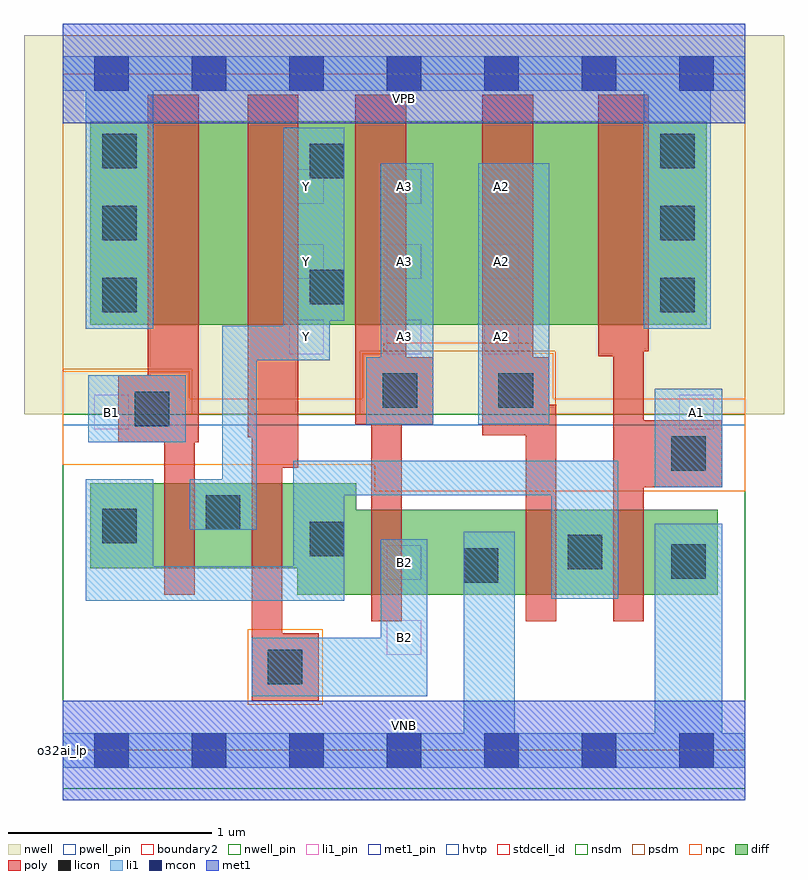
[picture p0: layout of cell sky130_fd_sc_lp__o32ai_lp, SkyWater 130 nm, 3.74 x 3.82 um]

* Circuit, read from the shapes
.subckt sky130_fd_sc_lp__o32ai_lp A1 A2 A3 B1 B2 VGND VNB VPB VPWR Y
XM1 Y B1 n1 VNB sky130_fd_pr__nfet_01v8 w=0.42 l=0.15
XM2 n1 B2 Y VNB sky130_fd_pr__nfet_01v8 w=0.42 l=0.15
XM3 VGND A3 n1 VNB sky130_fd_pr__nfet_01v8 w=0.42 l=0.15
XM4 n1 A2 VGND VNB sky130_fd_pr__nfet_01v8 w=0.42 l=0.15
XM5 VGND A1 n1 VNB sky130_fd_pr__nfet_01v8 w=0.42 l=0.15
XM6 n2 B1 VPWR VPB sky130_fd_pr__pfet_01v8_hvt w=1 l=0.25
XM7 Y B2 n2 VPB sky130_fd_pr__pfet_01v8_hvt w=1 l=0.25
XM8 n3 A3 Y VPB sky130_fd_pr__pfet_01v8_hvt w=1 l=0.25
XM9 n4 A2 n3 VPB sky130_fd_pr__pfet_01v8_hvt w=1 l=0.25
XM10 VPWR A1 n4 VPB sky130_fd_pr__pfet_01v8_hvt w=1 l=0.25
.ends

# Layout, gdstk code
import gdstk
lib = gdstk.Library(unit=1e-6, precision=1e-09)
def R(c, l, rs):  # rectangles x0, y0, x1, y1
    for r in rs: c.add(gdstk.rectangle(r[:2], r[2:], *l))
def A(c, l, x, y, w, h, nx, ny, dx, dy):  # array of equal rectangles
    R(c, l, [(x+i*dx, y+j*dy, x+i*dx+w, y+j*dy+h) for i in range(nx) for j in range(ny)])
def P(c, l, *ps):  # polygons
    for p in ps: c.add(gdstk.Polygon(p, *l))
nwell_pin = (64, 16)
nwell = (64, 20)
diff = (65, 20)
poly = (66, 20)
licon = (66, 44)
li1_pin = (67, 16)
li1 = (67, 20)
mcon = (67, 44)
met1_pin = (68, 16)
met1 = (68, 20)
hvtp = (78, 44)
stdcell_id = (81, 4)
nsdm = (93, 44)
psdm = (94, 20)
npc = (95, 20)
pwell_pin = (122, 16)
boundary2 = (236, 0)

sky130_fd_sc_lp__o32ai_l = lib.new_cell('sky130_fd_sc_lp__o32ai_lp')
R(sky130_fd_sc_lp__o32ai_l, nwell_pin, [(0,3.085,3.36,3.33)])
R(sky130_fd_sc_lp__o32ai_l, nwell, [(-0.19,1.655,3.55,3.52)])
R(sky130_fd_sc_lp__o32ai_l, diff, [(0.135,2.095,3.17,3.095)])
P(sky130_fd_sc_lp__o32ai_l, diff, [(3.225,1.185),(1.445,1.185),(1.445,1.315),(0.135,1.315),(0.135,0.895),(1.155,0.895),(1.155,0.765),(3.225,0.765)])
P(sky130_fd_sc_lp__o32ai_l, poly, [(0.67,3.225),(0.42,3.225),(0.42,1.845),(0.275,1.845),(0.275,1.515),(0.5,1.515),(0.5,0.765),(0.65,0.765),(0.65,1.515),(0.67,1.515)],
  [(1.26,0.575),(1.08,0.575),(1.08,1.39),(1.16,1.39),(1.16,3.225),(0.91,3.225),(0.91,1.54),(0.93,1.54),(0.93,0.245),(1.26,0.245)],
  [(1.825,1.935),(1.69,1.935),(1.69,3.225),(1.44,3.225),(1.44,1.605),(1.52,1.605),(1.52,0.635),(1.67,0.635),(1.67,1.605),(1.825,1.605)],
  [(2.43,1.7),(2.395,1.7),(2.395,1.935),(2.315,1.935),(2.315,3.225),(2.065,3.225),(2.065,1.55),(2.28,1.55),(2.28,0.635),(2.43,0.635)],
  [(3.245,1.625),(2.86,1.625),(2.86,1.965),(2.885,1.965),(2.885,3.225),(2.635,3.225),(2.635,1.94),(2.71,1.94),(2.71,0.635),(2.86,0.635),(2.86,1.295),(3.245,1.295)])
A(sky130_fd_sc_lp__o32ai_l, licon, 0.195, 2.155, 0.17, 0.17, 1, 3, 0, 0.355)
A(sky130_fd_sc_lp__o32ai_l, licon, 2.94, 2.155, 0.17, 0.17, 1, 3, 0, 0.355)
R(sky130_fd_sc_lp__o32ai_l, licon, [(1.01,0.325,1.18,0.495), (1.975,0.825,2.145,0.995), (2.995,0.845,3.165,1.015), (2.485,0.89,2.655,1.06), (1.215,0.955,1.385,1.125), (0.195,1.02,0.365,1.19), (0.705,1.085,0.875,1.255), (2.995,1.375,3.165,1.545), (0.355,1.595,0.525,1.765), (1.575,1.685,1.745,1.855), (2.145,1.685,2.315,1.855), (1.215,2.195,1.385,2.365), (1.215,2.815,1.385,2.985)])
A(sky130_fd_sc_lp__o32ai_l, li1_pin, 1.115, 1.95, 0.17, 0.17, 3, 3, 0.48, 0.37)
R(sky130_fd_sc_lp__o32ai_l, li1_pin, [(1.595,0.47,1.765,0.64), (1.595,0.84,1.765,1.01), (0.155,1.58,0.325,1.75), (3.035,1.58,3.205,1.75)])
R(sky130_fd_sc_lp__o32ai_l, li1, [(2.915,1.295,3.245,1.78), (0.125,1.515,0.605,1.845), (2.045,1.605,2.395,2.89)])
P(sky130_fd_sc_lp__o32ai_l, li1, [(2.86,2.075),(2.86,3.245),(0.445,3.245),(0.445,2.075),(0.115,2.075),(0.115,3.245),(0,3.245),(0,3.415),(3.36,3.415),(3.36,3.245),(3.19,3.245),(3.19,2.075)],
  [(1.975,0.085),(1.975,1.075),(2.225,1.075),(2.225,0.085),(2.915,0.085),(2.915,1.115),(3.245,1.115),(3.245,0.085),(3.36,0.085),(3.36,-0.085),(0,-0.085),(0,0.085)],
  [(0.785,2.09),(1.085,2.09),(1.085,3.065),(1.385,3.065),(1.385,2.115),(1.315,2.115),(1.315,1.92),(0.955,1.92),(0.955,1.085),(0.625,1.085),(0.625,1.335),(0.785,1.335)],
  [(1.565,0.555),(1.565,1.04),(1.795,1.04),(1.795,0.265),(0.93,0.265),(0.93,0.555)],
  [(2.405,0.745),(2.405,1.255),(1.385,1.255),(1.385,0.735),(0.115,0.735),(0.115,1.335),(0.445,1.335),(0.445,0.905),(1.135,0.905),(1.135,1.425),(2.735,1.425),(2.735,0.745)],
  [(1.495,1.605),(1.495,1.935),(1.565,1.935),(1.565,2.89),(1.825,2.89),(1.825,1.605)])
A(sky130_fd_sc_lp__o32ai_l, mcon, 0.155, -0.085, 0.17, 0.17, 7, 2, 0.48, 3.33)
R(sky130_fd_sc_lp__o32ai_l, met1_pin, [(0,0,3.36,0.245), (0,3.085,3.36,3.33)])
R(sky130_fd_sc_lp__o32ai_l, met1, [(0,-0.245,3.36,0.245), (0,3.085,3.36,3.575)])
R(sky130_fd_sc_lp__o32ai_l, hvtp, [(0,1.6,3.36,3.33)])
R(sky130_fd_sc_lp__o32ai_l, stdcell_id, [(0,0,3.36,3.33)])
R(sky130_fd_sc_lp__o32ai_l, nsdm, [(0,-0.19,3.36,1.655)])
P(sky130_fd_sc_lp__o32ai_l, psdm, [(3.36,3.52),(0,3.52),(0,1.875),(0.635,1.875),(0.635,1.655),(1.465,1.655),(1.465,1.965),(2.425,1.965),(2.425,1.655),(3.36,1.655)])
R(sky130_fd_sc_lp__o32ai_l, npc, [(0.91,0.225,1.28,0.595)])
P(sky130_fd_sc_lp__o32ai_l, npc, [(3.36,1.73),(2.415,1.73),(2.415,1.955),(2.31,1.955),(2.31,2.005),(1.58,2.005),(1.58,1.955),(1.475,1.955),(1.475,1.73),(0.625,1.73),(0.625,1.865),(0,1.865),(0,1.405),(1.535,1.405),(1.535,1.275),(3.36,1.275)])
R(sky130_fd_sc_lp__o32ai_l, pwell_pin, [(0,0,3.36,0.245)])
R(sky130_fd_sc_lp__o32ai_l, boundary2, [(0,0,3.36,3.33)])
sky130_fd_sc_lp__o32ai_l.add(gdstk.Label('VNB', (1.68,0.123), layer=64, texttype=59))
sky130_fd_sc_lp__o32ai_l.add(gdstk.Label('VPB', (1.68,3.208), layer=64, texttype=5))
sky130_fd_sc_lp__o32ai_l.add(gdstk.Label('o32ai_lp', (0,0), layer=83, texttype=44))
sky130_fd_sc_lp__o32ai_l.add(gdstk.Label('VPWR', (1.68,3.208), layer=68, texttype=5))
sky130_fd_sc_lp__o32ai_l.add(gdstk.Label('VGND', (1.68,0.123), layer=68, texttype=5))
sky130_fd_sc_lp__o32ai_l.add(gdstk.Label('Y', (1.2,2.035), layer=67, texttype=5))
sky130_fd_sc_lp__o32ai_l.add(gdstk.Label('Y', (1.2,2.405), layer=67, texttype=5))
sky130_fd_sc_lp__o32ai_l.add(gdstk.Label('Y', (1.2,2.775), layer=67, texttype=5))
sky130_fd_sc_lp__o32ai_l.add(gdstk.Label('B1', (0.24,1.665), layer=67, texttype=5))
sky130_fd_sc_lp__o32ai_l.add(gdstk.Label('A2', (2.16,2.035), layer=67, texttype=5))
sky130_fd_sc_lp__o32ai_l.add(gdstk.Label('A2', (2.16,2.405), layer=67, texttype=5))
sky130_fd_sc_lp__o32ai_l.add(gdstk.Label('A2', (2.16,2.775), layer=67, texttype=5))
sky130_fd_sc_lp__o32ai_l.add(gdstk.Label('B2', (1.68,0.555), layer=67, texttype=5))
sky130_fd_sc_lp__o32ai_l.add(gdstk.Label('B2', (1.68,0.925), layer=67, texttype=5))
sky130_fd_sc_lp__o32ai_l.add(gdstk.Label('A3', (1.68,2.035), layer=67, texttype=5))
sky130_fd_sc_lp__o32ai_l.add(gdstk.Label('A3', (1.68,2.405), layer=67, texttype=5))
sky130_fd_sc_lp__o32ai_l.add(gdstk.Label('A3', (1.68,2.775), layer=67, texttype=5))
sky130_fd_sc_lp__o32ai_l.add(gdstk.Label('A1', (3.12,1.665), layer=67, texttype=5))

lib.write_gds('sky130_fd_sc_lp__o32ai_lp.gds')
